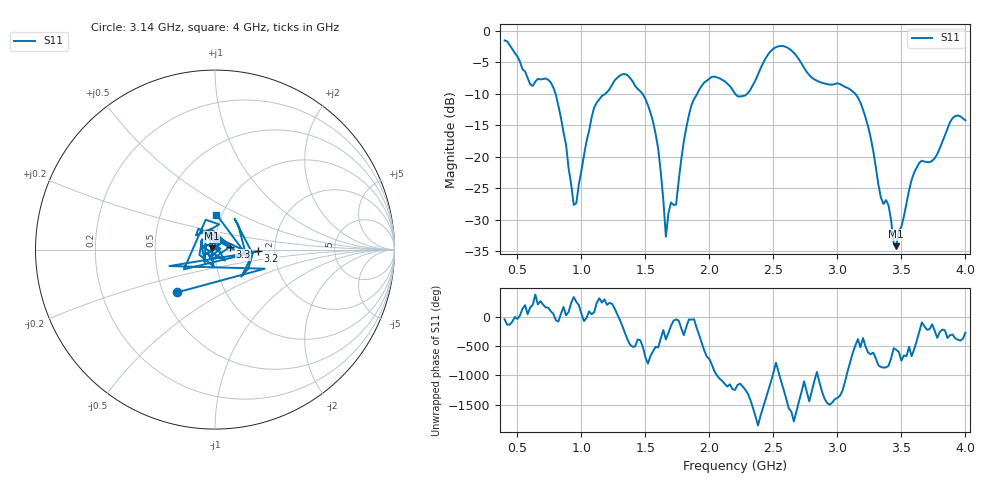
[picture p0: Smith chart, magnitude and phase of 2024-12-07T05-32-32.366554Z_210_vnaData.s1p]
!Created with skrf (http://scikit-rf.org).
# Hz S RI R 50.0
!freq ReS11 ImS11
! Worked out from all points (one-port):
!   181 points, 400 MHz to 4 GHz, reference 50 ohm
!   lowest |S11| = -34.2 dB at 3.46 GHz (marker M1), VSWR 1.04, Z = 48.2 + j0.759 ohm
!   |S11| at or under -10 dB: 798.5 MHz to 1.184 GHz (385.6 MHz wide, 38.9 % of centre); 1.478 GHz to 1.904 GHz (425.6 MHz wide, 25.2 % of centre); 3.141 GHz to end of sweep (the widest 3 of 4)
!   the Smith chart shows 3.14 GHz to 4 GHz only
!   S11 on the Smith chart (normalised r, x): 3.14 GHz: 0.59, -0.31; 3.2 GHz: 1.62, -0.03; 3.3 GHz: 1.18, +0.04; 4 GHz: 0.94, +0.38
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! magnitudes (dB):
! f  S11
! 400 MHz  -1.5
! 600 MHz  -8.5
! 760 MHz  -8.2
! 860 MHz  -16.1
! 940 MHz  -27.6
! 960 MHz  -27.4
! 1.1 GHz  -12.1
! 1.3 GHz  -7.1
! 1.54 GHz  -13.0
! 1.6 GHz  -18.7
! 1.66 GHz  -32.7
! 1.74 GHz  -27.6
! 1.76 GHz  -23.8
! 1.84 GHz  -13.4
! 1.94 GHz  -8.7
! 2.2 GHz  -10.0
! 2.3 GHz  -9.9
! 2.5 GHz  -2.8
! 2.66 GHz  -3.5
! 2.82 GHz  -7.7
! 3.1 GHz  -9.3
! 3.14 GHz  -10.0
! 3.2 GHz  -12.5
! 3.3 GHz  -21.6
! 3.46 GHz  -34.2
! 3.56 GHz  -25.3
! 3.9 GHz  -13.8
! 4 GHz  -14.2
